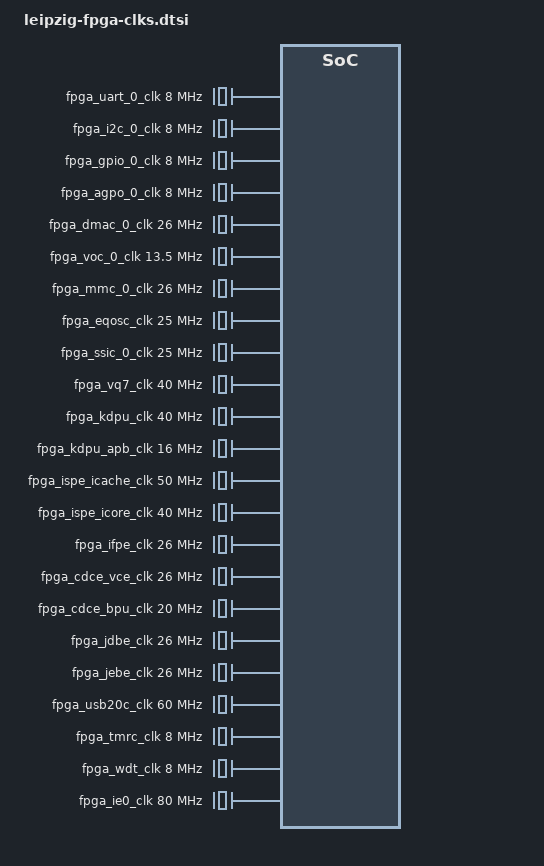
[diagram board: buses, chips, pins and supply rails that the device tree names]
// SPDX-License-Identifier: (GPL-2.0 OR MIT)
/*
 * Copyright (C) 2023 VATICS Inc.
 */

/ {
	fpga_uart_0_clk: fpga_uart_0_clk@8M {
		compatible = "fixed-clock";
		#clock-cells = <0>;
		clock-frequency = <8000000>;
		clock-output-name = "fpga_uart_0_clk";
	};

	fpga_i2c_0_clk: fpga_i2c_0_clk@8M {
		compatible = "fixed-clock";
		#clock-cells = <0>;
		clock-frequency = <8000000>;
		clock-output-name = "fpga_i2c_0_clk";
	};

	fpga_gpio_0_clk: fpga_gpio_0_clk@8M {
		compatible = "fixed-clock";
		#clock-cells = <0>;
		clock-frequency = <8000000>;
		clock-output-name = "fpga_gpio_0_clk";
	};

	fpga_agpo_0_clk: fpga_agpo_0_clk@8M {
		compatible = "fixed-clock";
		#clock-cells = <0>;
		clock-frequency = <8000000>;
		clock-output-name = "fpga_agpo_0_clk";
	};

	fpga_dmac_0_clk: fpga_dmac_0_clk@26M {
		compatible = "fixed-clock";
		#clock-cells = <0>;
		clock-frequency = <26000000>;
		clock-output-name = "fpga_dmac_0_clk";
	};

	fpga_voc_0_clk: fpga_voc_0_clk@13M {
		compatible = "fixed-clock";
		#clock-cells = <0>;
		clock-frequency = <13500000>;
		clock-output-name = "fpga_voc_0_clk";
	};

	fpga_mmc_0_clk: fpga_mmc_0_clk@26M {
		compatible = "fixed-clock";
		#clock-cells = <0>;
		clock-frequency = <26000000>;
		clock-output-name = "fpga_mmc_0_clk";
	};

	fpga_eqosc_clk: fpga_eqosc_clk@25M {
		compatible = "fixed-clock";
		#clock-cells = <0>;
		clock-frequency = <25000000>;
		clock-output-name = "fpga_eqosc_clk";
	};

	fpga_ssic_0_clk: fpga_ssic_0_clk@25M {
		compatible = "fixed-clock";
		#clock-cells = <0>;
		clock-frequency = <25000000>;
		clock-output-name = "fpga_ssic_0_clk";
	};

	fpga_vq7_clk: fpga_vq7_clk@40M {
		compatible = "fixed-clock";
		#clock-cells = <0>;
		clock-frequency = <40000000>;
		clock-output-name = "fpga_vq7_clk";
	};

	fpga_kdpu_clk: fpga_kdpu_clk@40M {
		compatible = "fixed-clock";
		#clock-cells = <0>;
		clock-frequency = <40000000>;
		clock-output-name = "fpga_kdpu_clk";
	};

	fpga_kdpu_apb_clk: fpga_kdpu_apb_clk@16M {
		compatible = "fixed-clock";
		#clock-cells = <0>;
		clock-frequency = <16000000>;
		clock-output-name = "fpga_kdpu_apb_clk";
	};

	fpga_ispe_icache_clk: fpga_ispe_icahce_clk@50M {
		compatible = "fixed-clock";
		#clock-cells = <0>;
		clock-frequency = <50000000>;
		clock-output-name = "fpga_ispe_icache_clk";
	};

	fpga_ispe_icore_clk: fpga_ispe_icore_clk@40M {
		compatible = "fixed-clock";
		#clock-cells = <0>;
		clock-frequency = <40000000>;
		clock-output-name = "fpga_ispe_icore_clk";
	};

	fpga_ifpe_clk: fpga_ifpe_clk@26M {
		compatible = "fixed-clock";
		#clock-cells = <0>;
		clock-frequency = <26000000>;
		clock-output-name = "fpga_ifpe_clk";
	};

	fpga_cdce_vce_clk: fpga_cdce_vce_clk@26M {
		compatible = "fixed-clock";
		#clock-cells = <0>;
		clock-frequency = <26000000>;
		clock-output-name = "fpga_cdce_vce_clk";
	};

	fpga_cdce_bpu_clk: fpga_cdce_bpu_clk@20M {
		compatible = "fixed-clock";
		#clock-cells = <0>;
		clock-frequency = <20000000>;
		clock-output-name = "fpga_cdce_bpu_clk";
	};

	fpga_jdbe_clk: fpga_jdbe_clk@26M {
		compatible = "fixed-clock";
		#clock-cells = <0>;
		clock-frequency = <26000000>;
		clock-output-name = "fpga_jdbe_clk";
	};

	fpga_jebe_clk: fpga_jebe_clk@26M {
		compatible = "fixed-clock";
		#clock-cells = <0>;
		clock-frequency = <26000000>;
		clock-output-name = "fpga_jebe_clk";
	};

	fpga_usb20c_clk: fpga_usb20c_clk@60M {
		compatible = "fixed-clock";
		#clock-cells = <0>;
		clock-frequency = <60000000>;
		clock-output-name = "fpga_usb20c_clk";
	};

	fpga_tmrc_clk: fpga_tmrc_clk@8M {
		compatible = "fixed-clock";
		#clock-cells = <0>;
		clock-frequency = <8000000>;
		clock-output-name = "fpga_tmrc_clk";
	};

	fpga_wdt_clk: fpga_wdt_clk@8M {
		compatible = "fixed-clock";
		#clock-cells = <0>;
		clock-frequency = <8000000>;
		clock-output-name = "fpga_wdt_clk";
	};

	fpga_ie0_clk: fpga_ie0_clk@80M {
		compatible = "fixed-clock";
		#clock-cells = <0>;
		clock-frequency = <80000000>;
		clock-output-name = "fpga_ie0_clk";
	};
};
